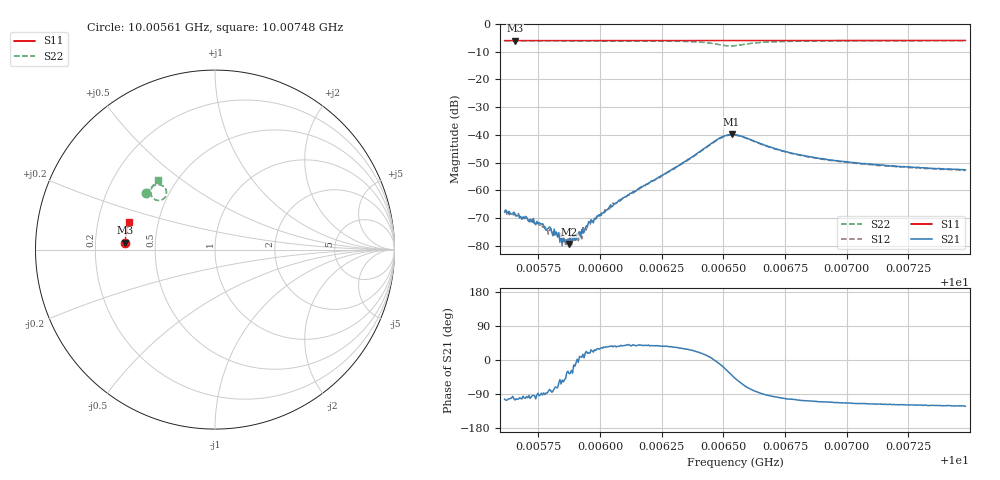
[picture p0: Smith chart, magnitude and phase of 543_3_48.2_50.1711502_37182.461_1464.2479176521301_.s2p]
#  HZ  S  RI  R  50.00
! Rohde & Schwarz Vector Network Analyzer
! Rohde-Schwarz,ZNB20-2Port,1311601062101988,3.16
! Created: UTC 3/20/2024, 12:00:22 PM
! freq[Hz]  re:S11  im:S11  re:S21  im:S21  re:S12  im:S12  re:S22  im:S22
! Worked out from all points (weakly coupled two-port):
!   401 points, 10.00561 GHz to 10.00748 GHz, reference 50 ohm
!   highest |S21| = -39.86 dB at 10.00653 GHz (marker M1); lowest = -79.3 dB at 10.00588 GHz (marker M2)
!   lowest |S11| = -6.0 dB at 10.00566 GHz (marker M3), VSWR 3.01, Z = 16.6 + j1.75 ohm
!   |S11| at or under -10 dB: nowhere
!   |S22| runs from -7.9 to -6.0 dB; largest |S21 - S12| = 0.00063
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1.0005614e10  -0.5 0.0365  -9.18e-05 -0.000392  -9.81e-05 -0.000431  -0.386 0.313
1.0005656e10  -0.4998 0.0393  -0.000101 -0.000362  -4.87e-05 -0.000369  -0.384 0.3154
1.0005763e10  -0.4996 0.0463  1.14e-05 -0.000244  -3.12e-05 -0.000242  -0.3789 0.3222
1.0005833e10  -0.4993 0.0507  8.25e-05 -0.000152  9.52e-05 -0.000114  -0.3753 0.3263
1.0005838e10  -0.4992 0.0511  7.22e-05 -9.13e-05  6.83e-05 -0.000118  -0.3751 0.3265
1.0005856e10  -0.499 0.0523  7.47e-05 -9.56e-05  6.39e-05 -0.000129  -0.374 0.3277
1.0005875e10  -0.499 0.0537  8.71e-05 -6.39e-05  0.000103 -3.74e-05  -0.3731 0.3289
1.0005894e10  -0.499 0.0547  0.000165 -3.79e-05  0.000132 -1.33e-05  -0.3719 0.3302
1.0005917e10  -0.4988 0.0563  0.000175 2.88e-05  0.000164 1.72e-05  -0.3707 0.3316
1.0005926e10  -0.4987 0.0568  0.000196 2.48e-05  0.000133 1.26e-05  -0.3701 0.3322
1.0005936e10  -0.4988 0.0575  0.000176 1.8e-05  0.000166 6.13e-05  -0.3696 0.3328
1.0005954e10  -0.4984 0.0587  0.000258 8.95e-05  0.00023 7.74e-05  -0.3685 0.3341
1.0006052e10  -0.4979 0.065  0.000432 0.000298  0.000445 0.000387  -0.3618 0.3406
1.0006239e10  -0.4965 0.0771  0.00138 0.00107  0.00128 0.00108  -0.3436 0.3546
1.0006477e10  -0.4937 0.0925  0.00831 -0.000934  0.00815 -0.000436  -0.2727 0.332
1.0006533e10  -0.4932 0.0954  0.00783 -0.00648  0.00802 -0.00589  -0.2863 0.2833
1.0006547e10  -0.4928 0.0961  0.00671 -0.00752  0.00704 -0.00698  -0.2985 0.2763
1.0006622e10  -0.4926 0.1006  0.00127 -0.00774  0.00164 -0.00752  -0.3478 0.2895
1.0006729e10  -0.4918 0.1077  -0.000893 -0.00527  -0.000635 -0.0052  -0.3582 0.323
1.000686e10  -0.4902 0.1161  -0.00127 -0.00377  -0.00106 -0.00376  -0.3526 0.3441
1.0007173e10  -0.4858 0.1358  -0.00123 -0.00249  -0.00113 -0.00248  -0.335 0.3699
1.0007481e10  -0.4807 0.1551  -0.00124 -0.00198  -0.00111 -0.00198  -0.3186 0.3873
